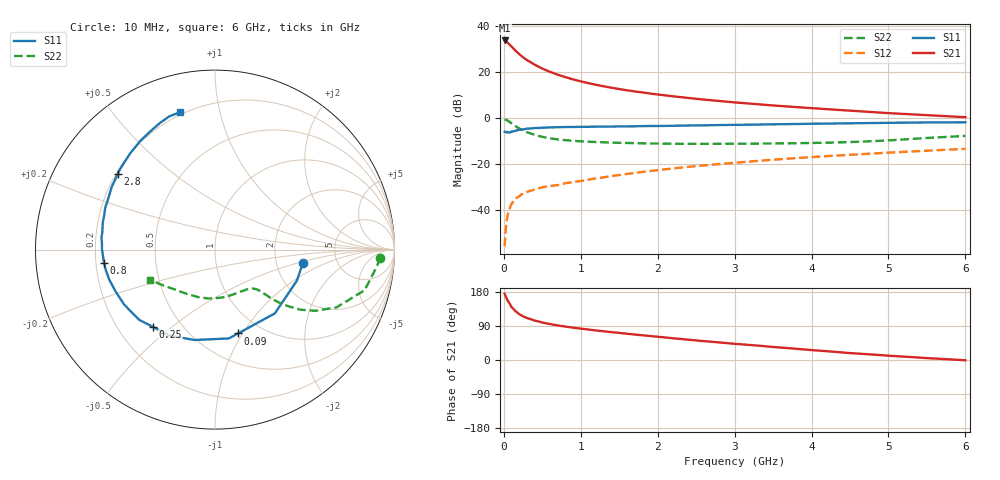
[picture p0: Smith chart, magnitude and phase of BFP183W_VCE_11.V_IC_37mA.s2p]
! Infineon Technologies  Discrete & RF Semiconductors
! BFP183W
! VCE =  11. V,  IC =  37 mA
! Common Emitter S-Parameters:  Jan 2017
# GHz  S  MA  R  50
!  f  S11  S21  S12  S22
! GHz  MAG  ANG  MAG  ANG  MAG  ANG  MAG  ANG
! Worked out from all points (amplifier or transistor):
!   77 points, 10 MHz to 6 GHz, reference 50 ohm
!   highest |S21| = 33.5 dB at 10 MHz (marker M1)
!   |S21| within 3 dB of that: start of sweep to 110.3 MHz
!   unconditionally stable (mu >= 1): 992.2 MHz to 3.759 GHz
!   at 130 MHz: K = 0.40, MSG = 33.0 dB, |S12| = -36.1 dB
!   at 2.2 GHz: K = 1.10, MAG = 13.8 dB, |S12| = -22.1 dB
!   at 6 GHz: K = 0.85, MSG = 6.9 dB, |S12| = -13.6 dB
!   S11 on the Smith chart (normalised r, x): 10 MHz: 2.83, -0.56; 90 MHz: 0.78, -0.96; 250 MHz: 0.35, -0.43; 800 MHz: 0.23, -0.06; 2.8 GHz: 0.21, +0.33; 6 GHz: 0.19, +0.76
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0.01  0.4951 -8.7  47.56 174.8  0.0016 63.9  0.9217 -2.8
0.02  0.4879 -20.8  46.63 169.5  0.0029 70.7  0.9053 -6.2
0.05  0.4875 -46.8  42.68 156.3  0.0077 71.7  0.8636 -15.2
0.09  0.4844 -74.6  36.34 143.5  0.0121 62.4  0.7708 -23.1
0.1  0.5009 -81.1  35.09 139.7  0.0132 61.0  0.7502 -25.4
0.15  0.5161 -102.6  28.59 129.0  0.0173 55.1  0.6543 -31.4
0.2  0.5429 -118.0  24.01 121.1  0.0194 51.5  0.5806 -35.2
0.25  0.5522 -128.8  20.45 115.2  0.0228 48.9  0.5251 -37.3
0.3  0.5761 -137.2  17.85 110.8  0.0242 48.3  0.4811 -39.1
0.4  0.5918 -148.9  14.15 104.0  0.0273 47.6  0.421 -40.8
0.5  0.6013 -157.4  11.63 98.9  0.0305 47.2  0.3818 -41.6
0.6  0.6116 -163.8  9.883 94.8  0.0326 48.5  0.3541 -42.3
0.8  0.6229 -173.3  7.584 88.1  0.0374 51.4  0.3232 -43.5
0.9  0.625 -176.7  6.769 85.3  0.0397 52.9  0.3127 -44.5
1.1  0.6309 176.8  5.61 80.4  0.0448 55.2  0.2991 -46.4
1.5  0.6427 166.7  4.171 71.5  0.0564 57.7  0.2826 -52.0
2.1  0.6598 154.2  3.039 59.4  0.0752 59.3  0.2711 -63.5
2.8  0.6879 142.0  2.294 46.3  0.0976 58.3  0.2694 -80.0
3.1  0.6983 137.3  2.076 41.2  0.1074 57.2  0.27 -87.4
4.1  0.7376 123.3  1.565 24.7  0.1416 52.5  0.2824 -112.6
5.1  0.7724 112.5  1.226 10.1  0.1763 46.9  0.327 -139.1
6  0.7899 104.5  1.021 -0.8  0.2091 40.8  0.4002 -155.3
